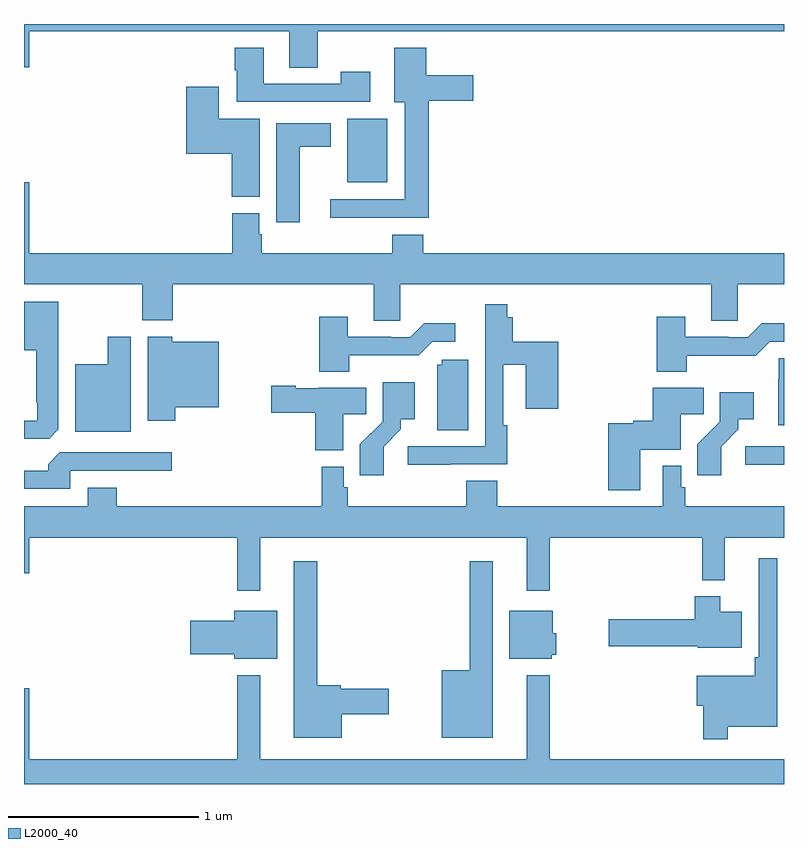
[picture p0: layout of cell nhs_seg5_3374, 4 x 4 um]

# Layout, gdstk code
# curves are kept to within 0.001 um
import gdstk
lib = gdstk.Library(unit=1e-6, precision=1e-09)
def R(c, l, rs):  # rectangles x0, y0, x1, y1
    for r in rs: c.add(gdstk.rectangle(r[:2], r[2:], *l))
def P(c, l, *ps):  # polygons
    for p in ps: c.add(gdstk.Polygon(p, *l))
L2000_40 = (2000, 40)

nhs_seg5_3374 = lib.new_cell('nhs_seg5_3374')
R(nhs_seg5_3374, L2000_40, [(312.795,854.479,313,854.577), (310.7,855.965,310.912,856.3)])
P(nhs_seg5_3374, L2000_40, [(313,856.799),(309,856.799),(309,856.572),(309.028,856.572),(309.028,856.76),(310.397,856.76),(310.397,856.57),(310.545,856.57),(310.545,856.76),(313,856.76)],
  [(311.129,856.394),(311.365,856.394),(311.365,856.528),(311.116,856.528),(311.116,856.675),(310.949,856.675),(310.949,856.388),(311.003,856.388),(311.003,855.876),(310.611,855.876),(310.611,855.779),(311.129,855.779)],
  [(310.822,856.549),(310.666,856.549),(310.666,856.485),(310.261,856.485),(310.261,856.675),(310.109,856.675),(310.109,856.555),(310.121,856.555),(310.121,856.389),(310.822,856.389)],
  [(310.24,856.3),(310.024,856.3),(310.024,856.468),(309.854,856.468),(309.854,856.115),(310.094,856.115),(310.094,855.889),(310.24,855.889)],
  [(310.45,856.154),(310.615,856.154),(310.615,856.276),(310.328,856.276),(310.328,855.756),(310.45,855.756)],
  [(310.98,855.428),(312.617,855.428),(312.617,855.238),(312.756,855.238),(312.756,855.428),(313,855.428),(313,855.592),(311.102,855.592),(311.102,855.691),(310.937,855.691),(310.937,855.592),(310.25,855.592),(310.25,855.693),(310.237,855.693),(310.237,855.804),(310.097,855.804),(310.097,855.592),(309.028,855.592),(309.028,855.967),(309,855.967),(309,855.428),(309.622,855.428),(309.622,855.239),(309.782,855.239),(309.782,855.428),(310.841,855.428),(310.841,855.238),(310.98,855.238)],
  [(309.181,854.665),(309.181,855.337),(309,855.337),(309,855.083),(309.065,855.083),(309.065,854.809),(309.069,854.809),(309.069,854.712),(309,854.712),(309,854.616),(309.132,854.616)],
  [(311.243,854.481),(311.543,854.481),(311.543,854.687),(311.523,854.687),(311.523,855.005),(311.642,855.005),(311.642,854.775),(311.813,854.775),(311.813,855.127),(311.573,855.127),(311.573,855.256),(311.543,855.256),(311.543,855.325),(311.427,855.325),(311.427,854.577),(311.019,854.577),(311.019,854.479),(311.243,854.479)],
  [(310.713,855.056),(311.077,855.056),(311.148,855.126),(311.269,855.126),(311.269,855.223),(311.107,855.223),(311.034,855.15),(310.934,855.15),(310.934,855.153),(310.705,855.153),(310.705,855.259),(310.553,855.259),(310.553,854.969),(310.713,854.969)],
  [(312.489,855.054),(312.851,855.053),(312.924,855.126),(313,855.126),(313,855.223),(312.883,855.223),(312.81,855.15),(312.71,855.15),(312.71,855.153),(312.481,855.153),(312.481,855.259),(312.329,855.259),(312.329,854.969),(312.489,854.969)],
  [(309.562,855.154),(309.44,855.154),(309.44,855.007),(309.269,855.007),(309.269,854.654),(309.562,854.654)],
  [(309.797,854.783),(310.024,854.783),(310.024,855.127),(309.78,855.127),(309.78,855.154),(309.65,855.154),(309.65,854.712),(309.797,854.712)],
  [(313,855.041),(312.972,855.041),(312.972,854.93),(312.971,854.93),(312.971,854.688),(313,854.688)],
  [(311.338,855.033),(311.199,855.033),(311.199,855.006),(311.174,855.006),(311.174,854.662),(311.338,854.662)],
  [(310.894,854.575),(310.984,854.665),(310.984,854.72),(311.056,854.72),(311.056,854.914),(310.887,854.914),(310.887,854.705),(310.768,854.586),(310.768,854.424),(310.894,854.424)],
  [(310.681,854.746),(310.802,854.746),(310.802,854.884),(310.548,854.884),(310.548,854.881),(310.431,854.881),(310.431,854.894),(310.302,854.894),(310.302,854.752),(310.532,854.752),(310.532,854.555),(310.681,854.555)],
  [(312.244,854.558),(312.457,854.558),(312.457,854.746),(312.578,854.746),(312.578,854.884),(312.308,854.884),(312.308,854.711),(312.207,854.711),(312.207,854.698),(312.074,854.698),(312.074,854.346),(312.244,854.346)],
  [(312.67,854.575),(312.76,854.665),(312.76,854.72),(312.841,854.72),(312.841,854.86),(312.663,854.86),(312.663,854.705),(312.544,854.586),(312.544,854.424),(312.67,854.424)],
  [(309.243,854.448),(309.778,854.448),(309.778,854.544),(309.189,854.544),(309.128,854.482),(309.128,854.448),(309,854.448),(309,854.352),(309.243,854.352)],
  [(310.243,854.096),(311.645,854.096),(311.645,853.815),(311.767,853.815),(311.767,854.096),(312.571,854.096),(312.571,853.871),(312.689,853.871),(312.689,854.096),(313,854.096),(313,854.26),(312.479,854.26),(312.479,854.361),(312.459,854.361),(312.459,854.473),(312.363,854.473),(312.363,854.26),(311.492,854.26),(311.492,854.396),(311.327,854.396),(311.327,854.26),(310.703,854.26),(310.703,854.361),(310.683,854.361),(310.683,854.47),(310.567,854.47),(310.567,854.26),(309.488,854.26),(309.488,854.359),(309.335,854.359),(309.335,854.26),(309,854.26),(309,853.908),(309.028,853.908),(309.028,854.096),(310.122,854.096),(310.122,853.815),(310.243,853.815)],
  [(312.703,853.1),(312.964,853.1),(312.964,853.987),(312.867,853.987),(312.867,853.465),(312.847,853.465),(312.847,853.369),(312.54,853.369),(312.54,853.211),(312.574,853.211),(312.574,853.035),(312.703,853.035)],
  [(311.467,853.972),(311.346,853.972),(311.346,853.399),(311.198,853.399),(311.198,853.043),(311.467,853.043)],
  [(310.672,853.166),(310.921,853.166),(310.921,853.301),(310.668,853.301),(310.668,853.319),(310.543,853.319),(310.543,853.972),(310.421,853.972),(310.421,853.043),(310.672,853.043)],
  [(312.778,853.705),(312.664,853.705),(312.664,853.786),(312.53,853.786),(312.53,853.665),(312.078,853.665),(312.078,853.523),(312.546,853.523),(312.546,853.517),(312.778,853.517)],
  [(310.333,853.711),(310.106,853.711),(310.106,853.659),(309.876,853.659),(309.876,853.481),(310.106,853.481),(310.106,853.457),(310.333,853.457)],
  [(311.778,853.479),(311.8,853.479),(311.8,853.593),(311.782,853.593),(311.782,853.711),(311.555,853.711),(311.555,853.457),(311.778,853.457)],
  [(313,852.928),(311.767,852.928),(311.767,853.372),(311.645,853.372),(311.645,852.928),(310.243,852.928),(310.243,853.372),(310.122,853.372),(310.122,852.928),(309.028,852.928),(309.028,853.303),(309,853.303),(309,852.799),(313,852.799)])

lib.write_gds('nhs_seg5_3374.gds')
